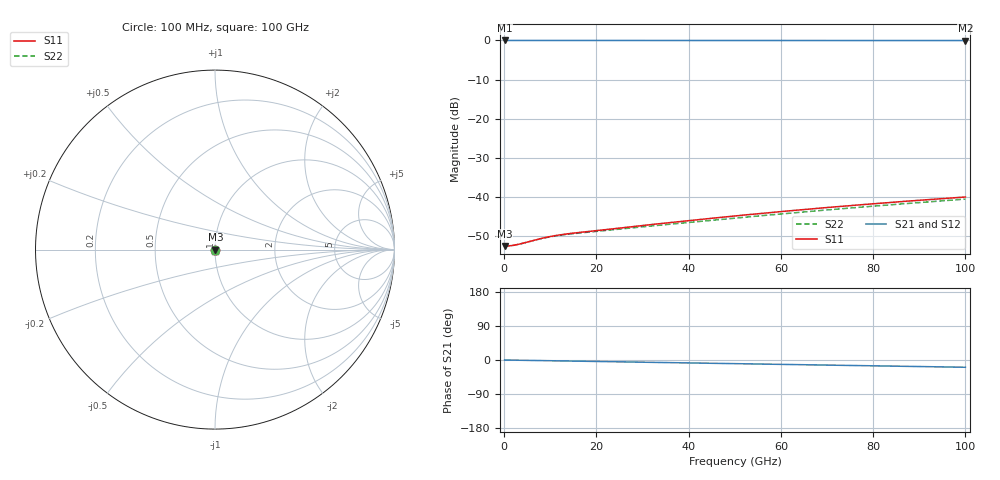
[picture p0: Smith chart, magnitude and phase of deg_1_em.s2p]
#  Hz  S  RI  R  50
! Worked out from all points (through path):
!   1000 points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, 100 MHz to 100 GHz, reference 50 ohm
!   highest |S21| = -0.02 dB at 100 MHz (marker M1); lowest = 0.0 dB at 100 GHz (marker M2)
!   group delay of S21, straight-line fit = 531 fs
!   lowest |S11| = -52.5 dB at 100 MHz (marker M3), VSWR 1.00, Z = 50.2 + j0.000564 ohm
!   |S11| at or under -10 dB: start of sweep to end of sweep
!   |S22| runs from -52.5 to -40.5 dB; largest |S21 - S12| = 0.00044
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1e8  0.00237 5.61e-06  0.9976 -0.000352  0.9976 -0.000352  0.00237 5.36e-06
8e8  0.00238 4.43e-05  0.9976 -0.00281  0.9976 -0.00281  0.00237 4.23e-05
1.4e9  0.0024 7.54e-05  0.9976 -0.00492  0.9976 -0.00492  0.00239 7.18e-05
2.1e9  0.00243 0.000107  0.9975 -0.00737  0.9975 -0.00737  0.00242 0.000102
2.8e9  0.00247 0.000132  0.9975 -0.00981  0.9975 -0.00982  0.00247 0.000125
4e9  0.00257 0.000155  0.9973 -0.014  0.9973 -0.014  0.00256 0.000144
7.7e9  0.00294 3.32e-05  0.9967 -0.0265  0.9967 -0.0266  0.00292 8.82e-06
9.1e9  0.00307 -8.05e-05  0.9964 -0.0312  0.9964 -0.0313  0.00304 -0.000109
1.04e10  0.00317 -0.000208  0.9962 -0.0355  0.9962 -0.0356  0.00314 -0.00024
1.17e10  0.00325 -0.000348  0.9959 -0.0398  0.9959 -0.0399  0.00321 -0.000384
1.32e10  0.00333 -0.000518  0.9956 -0.0448  0.9956 -0.0449  0.00328 -0.000556
1.68e10  0.00344 -0.000922  0.9949 -0.0568  0.9949 -0.0568  0.00337 -0.000963
2.16e10  0.00354 -0.00143  0.9937 -0.0727  0.9937 -0.0728  0.00342 -0.00148
2.88e10  0.00364 -0.00223  0.9914 -0.0965  0.9914 -0.0967  0.00342 -0.00229
3.34e10  0.00364 -0.00275  0.9897 -0.1117  0.9897 -0.1119  0.00334 -0.00281
5.01e10  0.00343 -0.00462  0.9817 -0.1667  0.9816 -0.1669  0.00276 -0.00464
5.79e10  0.00324 -0.00548  0.9769 -0.1921  0.9768 -0.1924  0.00235 -0.00546
6.67e10  0.00296 -0.00644  0.9707 -0.2207  0.9706 -0.221  0.00178 -0.00636
7.33e10  0.00269 -0.00715  0.9655 -0.242  0.9654 -0.2423  0.00128 -0.007
8.34e10  0.00223 -0.00823  0.9567 -0.2744  0.9566 -0.2747  0.000407 -0.00794
8.97e10  0.00188 -0.00889  0.9506 -0.2944  0.9506 -0.2948  -0.00021 -0.00848
1e11  0.0013 -0.00995  0.9398 -0.3268  0.9397 -0.3272  -0.0013 -0.00934
